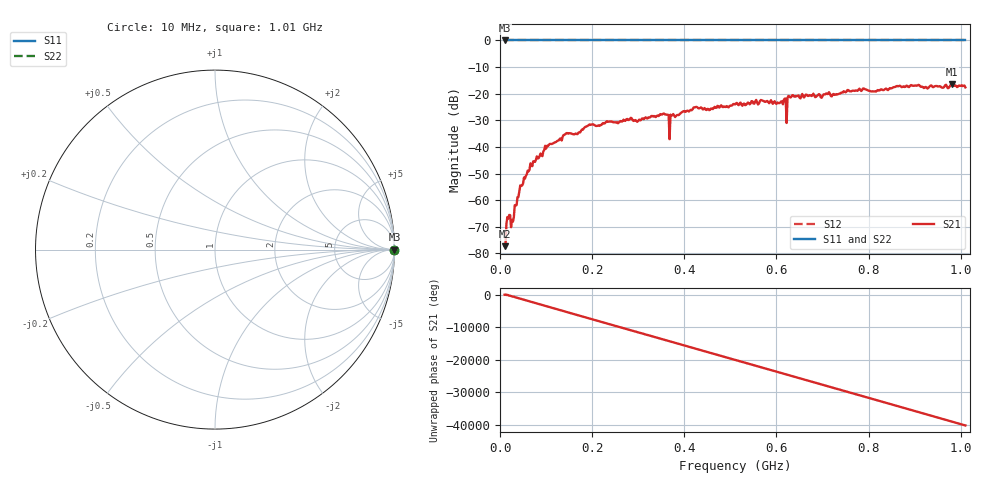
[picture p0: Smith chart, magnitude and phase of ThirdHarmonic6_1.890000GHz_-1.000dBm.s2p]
! 8/16/2025 10:49:34 PM
! C:\ANRITSUVNA\TEMP\TEMP.S2P
! CHANNEL.1
! TR.MEASUREMENT
! RAW.DATA
! RF.CORRECTION.OFF
! AVERAGING.OFF
! IF.BANDWIDTH: 5KHZ
! SWEEPTYPE:  FREQ.SWEEP(Linear)
! Reference Plane Port Info
! PORT:  PORT1  PORT2
! DISTANCE:  0  m  0  m
! TIME:  0  s  0  s
! PHASE.OFFSET:  0  deg.  0  deg.
! LOSS:  0  dB  0  dB
! REF.LOSS:  0  dB  0  dB
! REF.FREQ:  0  Hz  0  Hz
! Power Info
! POWER:  -20  dBm  -20  dBm
! EFF.POWER:  -20  dBm  -20  dBm
! SOURCE.ATTEN:  0  dB  0  dB
! TEST.ATTEN:  0  dB  0  dB
# GHZ S RI R 50.0
! FREQ.GHZ  S11RE  S11IM  S21RE  S21IM  S12RE  S12IM  S22RE  S22IM
!; PortSelection: Port_12
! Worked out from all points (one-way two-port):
!   501 points, 10 MHz to 1.01 GHz, reference 50 ohm
!   highest |S21| = -16.44 dB at 980 MHz (marker M1); lowest = -77.3 dB at 10 MHz (marker M2)
!   lowest |S11| = 0.0 dB at 10 MHz (marker M3)
!   |S11| at or under -10 dB: nowhere
!   |S22| runs from 0.0 to 0.0 dB; largest |S21 - S12| = 1.1
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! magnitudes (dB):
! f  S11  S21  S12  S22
! 10 MHz  0.0  -77.3  0.0  0.0
! 18 MHz  0.0  -66.9  0.0  0.0
! 28 MHz  0.0  -68.1  0.0  0.0
! 42 MHz  0.0  -56.8  0.0  0.0
! 70 MHz  0.0  -47.3  0.0  0.0
! 106 MHz  0.0  -39.2  0.0  0.0
! 178 MHz  0.0  -33.5  0.0  0.0
! 198 MHz  0.0  -31.6  0.0  0.0
! 344 MHz  0.0  -28.4  0.0  0.0
! 362 MHz  0.0  -27.9  0.0  0.0
! 364 MHz  0.0  -28.0  0.0  0.0
! 370 MHz  0.0  -27.9  0.0  0.0
! 374 MHz  0.0  -28.1  0.0  0.0
! 424 MHz  0.0  -25.1  0.0  0.0
! 510 MHz  0.0  -24.0  0.0  0.0
! 616 MHz  0.0  -22.3  0.0  0.0
! 618 MHz  0.0  -21.8  0.0  0.0
! 630 MHz  0.0  -21.4  0.0  0.0
! 678 MHz  0.0  -20.6  0.0  0.0
! 844 MHz  0.0  -18.3  0.0  0.0
! 980 MHz  0.0  -16.4  0.0  0.0
! 1.01 GHz  0.0  -17.6  0.0  0.0
